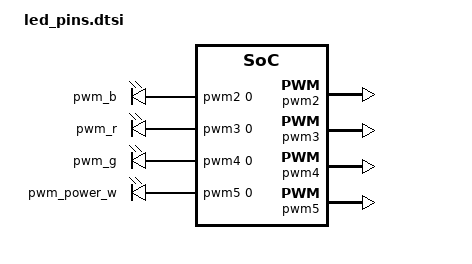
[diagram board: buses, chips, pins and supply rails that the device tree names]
/* Copyright 2022 The ChromiumOS Authors
 * Use of this source code is governed by a BSD-style license that can be
 * found in the LICENSE file.
 */

/ {
	pwmleds {
		compatible = "pwm-leds";

		pwm_b: pwm_b {
			pwms = <&pwm2 0 PWM_HZ(324) PWM_POLARITY_NORMAL>;
		};

		pwm_r: pwm_r {
			pwms = <&pwm3 0 PWM_HZ(324) PWM_POLARITY_NORMAL>;
		};

		pwm_g: pwm_g {
			pwms = <&pwm4 0 PWM_HZ(324) PWM_POLARITY_NORMAL>;
		};

		pwm_power_w: pwm_power_w {
			pwms = <&pwm5 0 PWM_HZ(324) PWM_POLARITY_NORMAL>;
		};
	};

	pwm-led-pins {
		compatible = "cros-ec,pwm-led-pins";

		battery_led: battery-led {
			led-id = "EC_LED_ID_BATTERY_LED";
			led-pwms = <&pwm_r &pwm_g &pwm_b>;


			color_off: color-off {
				led-color = "LED_OFF";
				led-values = <0 0 0>;
			};

			color_red: color-red {
				led-color = "LED_RED";
				br-color = "EC_LED_COLOR_RED";
				led-values = <8 0 0>;
			};

			color_green: color-green {
				led-color = "LED_GREEN";
				br-color = "EC_LED_COLOR_GREEN";
				led-values = <0 16 0>;
			};

			color_blue: color-blue {
				led-color = "LED_BLUE";
				br-color = "EC_LED_COLOR_BLUE";
				led-values = <0 0 8>;
			};

			color_yellow: color-yellow {
				led-color = "LED_YELLOW";
				br-color = "EC_LED_COLOR_YELLOW";
				led-values = <4 5 0>;
			};

			color_white: color-white {
				led-color = "LED_WHITE";
				br-color = "EC_LED_COLOR_WHITE";
				led-values = <10 10 10>;
			};

			color_amber: color-amber {
				led-color = "LED_AMBER";
				br-color = "EC_LED_COLOR_AMBER";
				led-values = <9 1 0>;
			};

		};

		power_led: power-led {
			led-id = "EC_LED_ID_POWER_LED";
			led-pwms = <&pwm_power_w>;

			color_power_off: color-power-off {
				led-color = "LED_OFF";
				led-values = <0>;
			};

			color_power_white: color-power-white {
				led-color = "LED_WHITE";
				br-color = "EC_LED_COLOR_WHITE";
				led-values = <55>;
			};
		};
	};
};

/* Battery charging Blue LED */
&pwm2 {
	status = "okay";
	clock-bus = "NPCX_CLOCK_BUS_LFCLK";
	pinctrl-0 = <&pwm2_gpc4>;
	pinctrl-names = "default";
};

/* Battery charging Red LED */
&pwm3 {
	status = "okay";
	clock-bus = "NPCX_CLOCK_BUS_LFCLK";
	pinctrl-0 = <&pwm3_gp80>;
	pinctrl-names = "default";
};

/* Battery charging Green LED */
&pwm4 {
	status = "okay";
	clock-bus = "NPCX_CLOCK_BUS_LFCLK";
	pinctrl-0 = <&pwm4_gpb6>;
	pinctrl-names = "default";
};

/* Finger Printer White LED */
&pwm5 {
	status = "okay";
	clock-bus = "NPCX_CLOCK_BUS_LFCLK";
	pinctrl-0 = <&pwm5_gpb7>;
	pinctrl-names = "default";
};
